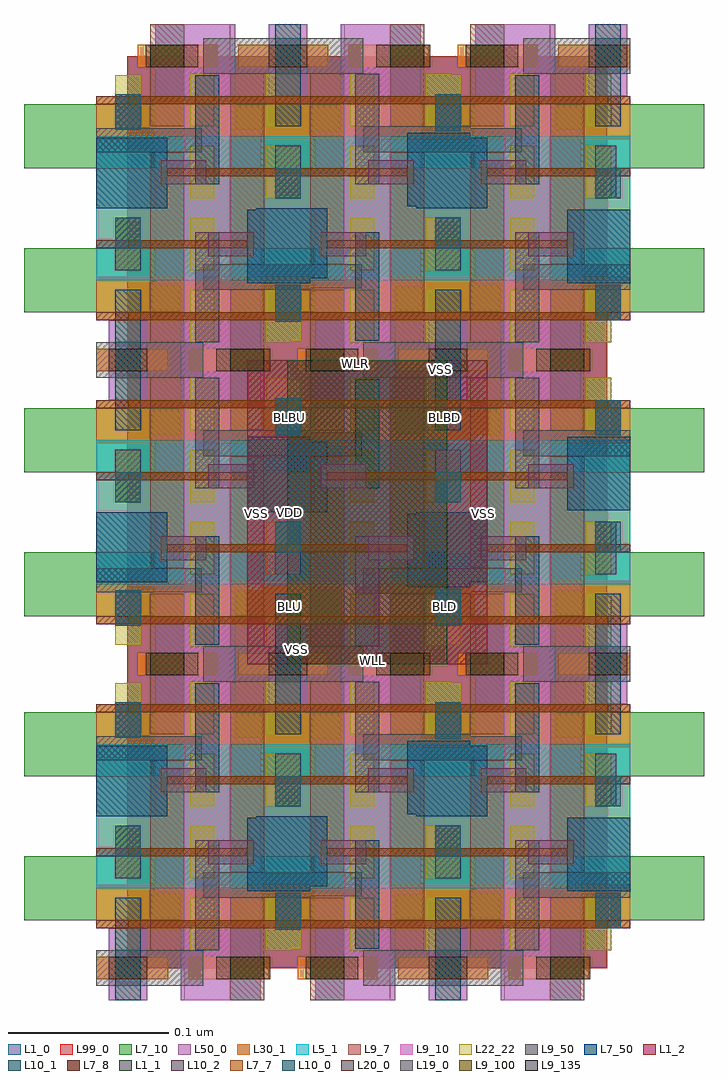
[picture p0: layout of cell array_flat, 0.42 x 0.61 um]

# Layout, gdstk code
import gdstk
lib = gdstk.Library(unit=1e-6, precision=1e-10)
def R(c, l, rs):  # rectangles x0, y0, x1, y1
    for r in rs: c.add(gdstk.rectangle(r[:2], r[2:], *l))
def A(c, l, x, y, w, h, nx, ny, dx, dy):  # array of equal rectangles
    R(c, l, [(x+i*dx, y+j*dy, x+i*dx+w, y+j*dy+h) for i in range(nx) for j in range(ny)])
L1_0 = (1, 0)
L1_1 = (1, 1)
L1_2 = (1, 2)
L5_1 = (5, 1)
L7_7 = (7, 7)
L7_8 = (7, 8)
L7_10 = (7, 10)
L7_50 = (7, 50)
L9_7 = (9, 7)
L9_10 = (9, 10)
L9_50 = (9, 50)
L9_100 = (9, 100)
L9_135 = (9, 135)
L10_0 = (10, 0)
L10_1 = (10, 1)
L10_2 = (10, 2)
L19_0 = (19, 0)
L20_0 = (20, 0)
L22_22 = (22, 22)
L30_1 = (30, 1)
L50_0 = (50, 0)
L99_0 = (99, 0)

array_flat = lib.new_cell('array_flat')
A(array_flat, L1_0, -0.1005, -0.19, 0.1, 0.19, 3, 3, 0.1, 0.19)
R(array_flat, L1_1, [(-0.0005,0,0.0995,0.19)])
R(array_flat, L1_2, [(-0.0255,0,0.1245,0.19)])
A(array_flat, L5_1, -0.12, -0.14, 0.134, 0.09, 3, 3, 0.1, 0.19)
A(array_flat, L7_7, -0.1, -0.165, 0.1, 0.005, 3, 2, 0.1, 0.135)
A(array_flat, L7_7, -0.1, 0.025, 0.1, 0.005, 3, 2, 0.1, 0.135)
A(array_flat, L7_7, -0.1, 0.215, 0.1, 0.005, 3, 2, 0.1, 0.135)
R(array_flat, L7_7, [(-0.1,-0.12,-0.0255,-0.115), (0.0245,-0.12,0.1,-0.115), (0.1,-0.12,0.1745,-0.115), (-0.0755,-0.075,0,-0.07), (0,-0.075,0.0745,-0.07), (0.1245,-0.075,0.2,-0.07), (-0.0755,0.07,0,0.075), (0,0.07,0.0745,0.075), (0.1245,0.07,0.2,0.075), (-0.1,0.115,-0.0255,0.12), (0.0245,0.115,0.1,0.12), (0.1,0.115,0.1745,0.12), (-0.1,0.26,-0.0255,0.265), (0.0245,0.26,0.1,0.265), (0.1,0.26,0.1745,0.265), (-0.0755,0.305,0,0.31), (0,0.305,0.0745,0.31), (0.1245,0.305,0.2,0.31)])
A(array_flat, L7_8, -0.12, -0.165, 0.134, 0.005, 3, 2, 0.1, 0.135)
A(array_flat, L7_8, -0.12, 0.025, 0.134, 0.005, 3, 2, 0.1, 0.135)
A(array_flat, L7_8, -0.12, 0.215, 0.134, 0.005, 3, 2, 0.1, 0.135)
R(array_flat, L7_8, [(-0.12,-0.12,-0.0255,-0.115), (0.0245,-0.12,0.114,-0.115), (0.08,-0.12,0.1745,-0.115), (-0.0755,-0.075,0.014,-0.07), (-0.02,-0.075,0.0745,-0.07), (0.1245,-0.075,0.214,-0.07), (-0.0755,0.07,0.014,0.075), (-0.02,0.07,0.0745,0.075), (0.1245,0.07,0.214,0.075), (-0.12,0.115,-0.0255,0.12), (0.0245,0.115,0.114,0.12), (0.08,0.115,0.1745,0.12), (-0.12,0.26,-0.0255,0.265), (0.0245,0.26,0.114,0.265), (0.08,0.26,0.1745,0.265), (-0.0755,0.305,0.014,0.31), (-0.02,0.305,0.0745,0.31), (0.1245,0.305,0.214,0.31)])
A(array_flat, L7_10, -0.165, -0.16, 0.225, 0.04, 3, 2, 0.1, 0.09)
A(array_flat, L7_10, -0.165, 0.03, 0.225, 0.04, 3, 2, 0.1, 0.09)
A(array_flat, L7_10, -0.165, 0.22, 0.225, 0.04, 3, 2, 0.1, 0.09)
R(array_flat, L7_50, [(-0.0255,-0.142,0.014,-0.096), (0.1745,-0.142,0.214,-0.096), (-0.02,-0.139,0.0245,-0.095), (-0.12,-0.095,-0.0755,-0.051), (0.08,-0.095,0.1245,-0.051), (0.0745,-0.094,0.114,-0.048), (0.0745,0.048,0.114,0.094), (-0.12,0.051,-0.0755,0.095), (0.08,0.051,0.1245,0.095), (-0.02,0.095,0.0245,0.139), (-0.0255,0.096,0.014,0.142), (0.1745,0.096,0.214,0.142), (-0.0255,0.238,0.014,0.284), (0.1745,0.238,0.214,0.284), (-0.02,0.241,0.0245,0.285), (-0.12,0.285,-0.0755,0.329), (0.08,0.285,0.1245,0.329), (0.0745,0.286,0.114,0.332)])
R(array_flat, L9_7, [(-0.036,-0.21,-0.015,-0.146), (0.014,-0.21,0.035,-0.146), (0.164,-0.21,0.185,-0.146), (-0.086,-0.179,-0.065,-0.06), (0.064,-0.179,0.085,-0.06), (0.114,-0.179,0.135,-0.06), (-0.036,-0.13,-0.015,-0.011), (0.014,-0.13,0.035,-0.011), (0.164,-0.13,0.185,-0.011), (-0.086,-0.044,-0.065,0.02), (0.064,-0.044,0.085,0.02), (0.114,-0.044,0.135,0.02), (-0.086,-0.02,-0.065,0.044), (0.064,-0.02,0.085,0.044), (0.114,-0.02,0.135,0.044), (-0.036,0.011,-0.015,0.13), (0.014,0.011,0.035,0.13), (0.164,0.011,0.185,0.13), (-0.086,0.06,-0.065,0.179), (0.064,0.06,0.085,0.179), (0.114,0.06,0.135,0.179), (-0.036,0.146,-0.015,0.21), (0.014,0.146,0.035,0.21), (0.164,0.146,0.185,0.21), (-0.036,0.17,-0.015,0.234), (0.014,0.17,0.035,0.234), (0.164,0.17,0.185,0.234), (-0.086,0.201,-0.065,0.32), (0.064,0.201,0.085,0.32), (0.114,0.201,0.135,0.32), (-0.036,0.25,-0.015,0.369), (0.014,0.25,0.035,0.369), (0.164,0.25,0.185,0.369), (-0.086,0.336,-0.065,0.4), (0.064,0.336,0.085,0.4), (0.114,0.336,0.135,0.4)])
A(array_flat, L9_10, -0.065, -0.21, 0.029, 0.23, 3, 3, 0.1, 0.19)
R(array_flat, L9_50, [(-0.12,-0.201,-0.053,-0.179), (0.047,-0.201,0.114,-0.179), (0.08,-0.201,0.147,-0.179), (-0.053,-0.146,0.014,-0.13), (0.147,-0.146,0.214,-0.13), (-0.02,-0.145,0.046,-0.13), (-0.12,-0.06,-0.054,-0.045), (0.047,-0.06,0.114,-0.044), (0.08,-0.06,0.146,-0.045), (-0.053,-0.011,0.014,0.011), (-0.02,-0.011,0.047,0.011), (0.147,-0.011,0.214,0.011), (0.047,0.044,0.114,0.06), (-0.12,0.045,-0.054,0.06), (0.08,0.045,0.146,0.06), (-0.053,0.13,0.014,0.146), (-0.02,0.13,0.046,0.145), (0.147,0.13,0.214,0.146), (-0.12,0.179,-0.053,0.201), (0.047,0.179,0.114,0.201), (0.08,0.179,0.147,0.201), (-0.053,0.234,0.014,0.25), (0.147,0.234,0.214,0.25), (-0.02,0.235,0.046,0.25), (-0.12,0.32,-0.054,0.335), (0.047,0.32,0.114,0.336), (0.08,0.32,0.146,0.335), (-0.053,0.369,0.014,0.391), (-0.02,0.369,0.047,0.391), (0.147,0.369,0.214,0.391)])
R(array_flat, L9_100, [(-0.036,-0.197,-0.015,-0.183), (0.014,-0.197,0.035,-0.183), (0.164,-0.197,0.185,-0.183), (-0.086,-0.007,-0.065,0.007), (0.064,-0.007,0.085,0.007), (0.114,-0.007,0.135,0.007), (-0.036,0.183,-0.015,0.197), (0.014,0.183,0.035,0.197), (0.164,0.183,0.185,0.197), (-0.086,0.373,-0.065,0.387), (0.064,0.373,0.085,0.387), (0.114,0.373,0.135,0.387)])
R(array_flat, L9_135, [(-0.036,-0.197,-0.015,-0.183), (0.014,-0.197,0.035,-0.183), (0.164,-0.197,0.185,-0.183), (-0.086,-0.007,-0.065,0.007), (0.064,-0.007,0.085,0.007), (0.114,-0.007,0.135,0.007), (-0.036,0.183,-0.015,0.197), (0.014,0.183,0.035,0.197), (0.164,0.183,0.185,0.197), (-0.086,0.373,-0.065,0.387), (0.064,0.373,0.085,0.387), (0.114,0.373,0.135,0.387)])
R(array_flat, L10_0, [(-0.108,-0.197,-0.092,-0.183), (0.092,-0.197,0.108,-0.183), (-0.008,-0.166,0.008,-0.144), (-0.008,-0.165,0.008,-0.143), (0.192,-0.165,0.208,-0.143), (-0.108,-0.12,-0.092,-0.101), (0.092,-0.12,0.108,-0.101), (-0.008,-0.089,0.008,-0.07), (0.192,-0.089,0.208,-0.07), (0.092,-0.047,0.108,-0.025), (-0.108,-0.046,-0.092,-0.024), (0.092,-0.046,0.108,-0.024), (-0.008,-0.007,0.008,0.007), (0.192,-0.007,0.208,0.007), (-0.108,0.024,-0.092,0.046), (0.092,0.024,0.108,0.046), (0.092,0.025,0.108,0.047), (-0.008,0.07,0.008,0.089), (0.192,0.07,0.208,0.089), (-0.108,0.101,-0.092,0.12), (0.092,0.101,0.108,0.12), (-0.008,0.143,0.008,0.165), (0.192,0.143,0.208,0.165), (-0.008,0.144,0.008,0.166), (-0.108,0.183,-0.092,0.197), (0.092,0.183,0.108,0.197), (-0.008,0.214,0.008,0.236), (-0.008,0.215,0.008,0.237), (0.192,0.215,0.208,0.237), (-0.108,0.26,-0.092,0.279), (0.092,0.26,0.108,0.279), (-0.008,0.291,0.008,0.31), (0.192,0.291,0.208,0.31), (0.092,0.333,0.108,0.355), (-0.108,0.334,-0.092,0.356), (0.092,0.334,0.108,0.356), (-0.008,0.373,0.008,0.387), (0.192,0.373,0.208,0.387)])
R(array_flat, L10_1, [(-0.108,-0.21,-0.092,-0.146), (0.092,-0.21,0.108,-0.146), (0.042,-0.178,0.057,-0.11), (-0.008,-0.166,0.008,-0.144), (-0.008,-0.165,0.008,-0.143), (0.192,-0.165,0.208,-0.143), (-0.058,-0.08,-0.043,-0.012), (0.142,-0.08,0.157,-0.012), (0.092,-0.047,0.108,-0.025), (-0.108,-0.046,-0.092,-0.024), (0.092,-0.046,0.108,-0.024), (-0.008,-0.044,0.008,0.02), (0.192,-0.044,0.208,0.02), (-0.008,-0.02,0.008,0.044), (0.192,-0.02,0.208,0.044), (-0.058,0.012,-0.043,0.08), (0.142,0.012,0.157,0.08), (-0.108,0.024,-0.092,0.046), (0.092,0.024,0.108,0.046), (0.092,0.025,0.108,0.047), (0.042,0.11,0.057,0.178), (-0.008,0.143,0.008,0.165), (0.192,0.143,0.208,0.165), (-0.008,0.144,0.008,0.166), (-0.108,0.146,-0.092,0.21), (0.092,0.146,0.108,0.21), (-0.108,0.17,-0.092,0.234), (0.092,0.17,0.108,0.234), (0.042,0.202,0.057,0.27), (-0.008,0.214,0.008,0.236), (-0.008,0.215,0.008,0.237), (0.192,0.215,0.208,0.237), (-0.058,0.3,-0.043,0.368), (0.142,0.3,0.157,0.368), (0.092,0.333,0.108,0.355), (-0.108,0.334,-0.092,0.356), (0.092,0.334,0.108,0.356), (-0.008,0.336,0.008,0.4), (0.192,0.336,0.208,0.4)])
R(array_flat, L10_2, [(-0.058,-0.179,-0.043,-0.11), (0.142,-0.179,0.157,-0.11), (-0.108,-0.134,-0.092,-0.101), (0.092,-0.134,0.108,-0.101), (0.092,-0.134,0.105,-0.101), (-0.008,-0.089,0.008,-0.056), (-0.008,-0.089,0.005,-0.056), (0.192,-0.089,0.205,-0.056), (0.042,-0.08,0.057,-0.011), (0.042,0.011,0.057,0.08), (-0.008,0.056,0.008,0.089), (-0.008,0.056,0.005,0.089), (0.192,0.056,0.205,0.089), (-0.108,0.101,-0.092,0.134), (0.092,0.101,0.108,0.134), (0.092,0.101,0.105,0.134), (-0.058,0.11,-0.043,0.179), (0.142,0.11,0.157,0.179), (-0.058,0.201,-0.043,0.27), (0.142,0.201,0.157,0.27), (-0.108,0.246,-0.092,0.279), (0.092,0.246,0.108,0.279), (0.092,0.246,0.105,0.279), (-0.008,0.291,0.008,0.324), (-0.008,0.291,0.005,0.324), (0.192,0.291,0.205,0.324), (0.042,0.3,0.057,0.369)])
R(array_flat, L19_0, [(-0.05,-0.125,-0.0215,-0.11), (0.0205,-0.125,0.049,-0.11), (0.15,-0.125,0.1785,-0.11), (-0.0795,-0.08,-0.051,-0.065), (0.05,-0.08,0.0785,-0.065), (0.1205,-0.08,0.149,-0.065), (-0.0795,0.065,-0.051,0.08), (0.05,0.065,0.0785,0.08), (0.1205,0.065,0.149,0.08), (-0.05,0.11,-0.0215,0.125), (0.0205,0.11,0.049,0.125), (0.15,0.11,0.1785,0.125), (-0.05,0.255,-0.0215,0.27), (0.0205,0.255,0.049,0.27), (0.15,0.255,0.1785,0.27), (-0.0795,0.3,-0.051,0.315), (0.05,0.3,0.0785,0.315), (0.1205,0.3,0.149,0.315)])
R(array_flat, L20_0, [(-0.112,-0.197,-0.088,-0.183), (-0.045,-0.197,-0.011,-0.183), (0.011,-0.197,0.044,-0.183), (0.088,-0.197,0.112,-0.183), (0.155,-0.197,0.189,-0.183), (-0.089,-0.007,-0.056,0.007), (-0.012,-0.007,0.012,0.007), (0.055,-0.007,0.089,0.007), (0.111,-0.007,0.144,0.007), (0.188,-0.007,0.212,0.007), (-0.112,0.183,-0.088,0.197), (-0.045,0.183,-0.011,0.197), (0.011,0.183,0.044,0.197), (0.088,0.183,0.112,0.197), (0.155,0.183,0.189,0.197), (-0.089,0.373,-0.056,0.387), (-0.012,0.373,0.012,0.387), (0.055,0.373,0.089,0.387), (0.111,0.373,0.144,0.387), (0.188,0.373,0.212,0.387)])
A(array_flat, L22_22, -0.061, -0.179, 0.015, 0.033, 3, 4, 0.1, 0.045)
A(array_flat, L22_22, -0.061, 0.011, 0.015, 0.033, 3, 4, 0.1, 0.045)
A(array_flat, L22_22, -0.061, 0.201, 0.015, 0.033, 3, 4, 0.1, 0.045)
R(array_flat, L22_22, [(-0.108,-0.179,-0.092,-0.146), (-0.014,-0.179,0.002,-0.146), (0.086,-0.179,0.102,-0.146), (0.092,-0.179,0.108,-0.146), (0.186,-0.179,0.202,-0.146), (-0.008,-0.178,0.008,-0.145), (-0.108,-0.134,-0.092,-0.101), (0.086,-0.134,0.102,-0.101), (0.092,-0.134,0.108,-0.101), (-0.014,-0.089,0.002,-0.056), (-0.008,-0.089,0.008,-0.056), (0.186,-0.089,0.202,-0.056), (-0.108,-0.045,-0.092,-0.012), (0.092,-0.045,0.108,-0.012), (-0.014,-0.044,0.002,-0.011), (-0.008,-0.044,0.008,-0.011), (0.086,-0.044,0.102,-0.011), (0.186,-0.044,0.202,-0.011), (-0.014,0.011,0.002,0.044), (-0.008,0.011,0.008,0.044), (0.086,0.011,0.102,0.044), (0.186,0.011,0.202,0.044), (-0.108,0.012,-0.092,0.045), (0.092,0.012,0.108,0.045), (-0.014,0.056,0.002,0.089), (-0.008,0.056,0.008,0.089), (0.186,0.056,0.202,0.089), (-0.108,0.101,-0.092,0.134), (0.086,0.101,0.102,0.134), (0.092,0.101,0.108,0.134), (-0.008,0.145,0.008,0.178), (-0.108,0.146,-0.092,0.179), (-0.014,0.146,0.002,0.179), (0.086,0.146,0.102,0.179), (0.092,0.146,0.108,0.179), (0.186,0.146,0.202,0.179), (-0.108,0.201,-0.092,0.234), (-0.014,0.201,0.002,0.234), (0.086,0.201,0.102,0.234), (0.092,0.201,0.108,0.234), (0.186,0.201,0.202,0.234), (-0.008,0.202,0.008,0.235), (-0.108,0.246,-0.092,0.279), (0.086,0.246,0.102,0.279), (0.092,0.246,0.108,0.279), (-0.014,0.291,0.002,0.324), (-0.008,0.291,0.008,0.324), (0.186,0.291,0.202,0.324), (-0.108,0.335,-0.092,0.368), (0.092,0.335,0.108,0.368), (-0.014,0.336,0.002,0.369), (-0.008,0.336,0.008,0.369), (0.086,0.336,0.102,0.369), (0.186,0.336,0.202,0.369)])
A(array_flat, L30_1, -0.12, -0.165, 0.134, 0.027, 3, 2, 0.1, 0.113)
A(array_flat, L30_1, -0.12, -0.12, 0.134, 0.05, 3, 3, 0.1, 0.19)
A(array_flat, L30_1, -0.12, 0.025, 0.134, 0.027, 3, 2, 0.1, 0.113)
A(array_flat, L30_1, -0.12, 0.215, 0.134, 0.027, 3, 2, 0.1, 0.113)
R(array_flat, L30_1, [(-0.12,-0.197,-0.075,-0.183), (-0.062,-0.197,-0.012,-0.183), (0.006,-0.197,0.056,-0.183), (0.069,-0.197,0.114,-0.183), (0.08,-0.197,0.125,-0.183), (0.138,-0.197,0.188,-0.183), (-0.094,-0.007,-0.044,0.007), (-0.031,-0.007,0.014,0.007), (-0.02,-0.007,0.025,0.007), (0.038,-0.007,0.088,0.007), (0.106,-0.007,0.156,0.007), (0.169,-0.007,0.214,0.007), (-0.12,0.183,-0.075,0.197), (-0.062,0.183,-0.012,0.197), (0.006,0.183,0.056,0.197), (0.069,0.183,0.114,0.197), (0.08,0.183,0.125,0.197), (0.138,0.183,0.188,0.197), (-0.094,0.373,-0.044,0.387), (-0.031,0.373,0.014,0.387), (-0.02,0.373,0.025,0.387), (0.038,0.373,0.088,0.387), (0.106,0.373,0.156,0.387), (0.169,0.373,0.214,0.387)])
R(array_flat, L50_0, [(-0.112,-0.21,-0.088,-0.165), (-0.067,-0.21,-0.017,-0.046), (0.017,-0.21,0.067,-0.047), (0.088,-0.21,0.112,-0.165), (0.133,-0.21,0.183,-0.046), (0.033,-0.144,0.083,0.02), (-0.083,-0.143,-0.033,0.02), (0.117,-0.143,0.167,0.02), (-0.012,-0.025,0.012,0.02), (0.188,-0.025,0.212,0.02), (-0.083,-0.02,-0.033,0.143), (-0.012,-0.02,0.012,0.025), (0.033,-0.02,0.083,0.144), (0.117,-0.02,0.167,0.143), (0.188,-0.02,0.212,0.025), (-0.067,0.046,-0.017,0.21), (0.133,0.046,0.183,0.21), (0.017,0.047,0.067,0.21), (-0.112,0.165,-0.088,0.21), (0.088,0.165,0.112,0.21), (-0.112,0.17,-0.088,0.215), (-0.067,0.17,-0.017,0.334), (0.017,0.17,0.067,0.333), (0.088,0.17,0.112,0.215), (0.133,0.17,0.183,0.334), (0.033,0.236,0.083,0.4), (-0.083,0.237,-0.033,0.4), (0.117,0.237,0.167,0.4), (-0.012,0.355,0.012,0.4), (0.188,0.355,0.212,0.4)])
A(array_flat, L99_0, -0.1005, -0.19, 0.1, 0.19, 3, 3, 0.1, 0.19)
array_flat.add(gdstk.Label('VSS', (0.005,0.009), layer=50, texttype=12))
array_flat.add(gdstk.Label('VSS', (-0.02,0.094), layer=50, texttype=12))
array_flat.add(gdstk.Label('VSS', (0.122,0.094), layer=50, texttype=12))
array_flat.add(gdstk.Label('VSS', (0.095,0.184), layer=50, texttype=12))
array_flat.add(gdstk.Label('WLR', (0.042,0.188), layer=50, texttype=12))
array_flat.add(gdstk.Label('WLL', (0.053,0.002), layer=50, texttype=12))
array_flat.add(gdstk.Label('BLU', (0.001,0.036), layer=30, texttype=2))
array_flat.add(gdstk.Label('BLBU', (0.001,0.154), layer=30, texttype=2))
array_flat.add(gdstk.Label('VDD', (0.001,0.095), layer=30, texttype=2))
array_flat.add(gdstk.Label('BLD', (0.098,0.036), layer=30, texttype=2))
array_flat.add(gdstk.Label('BLBD', (0.098,0.154), layer=30, texttype=2))

lib.write_gds('array_flat.gds')
